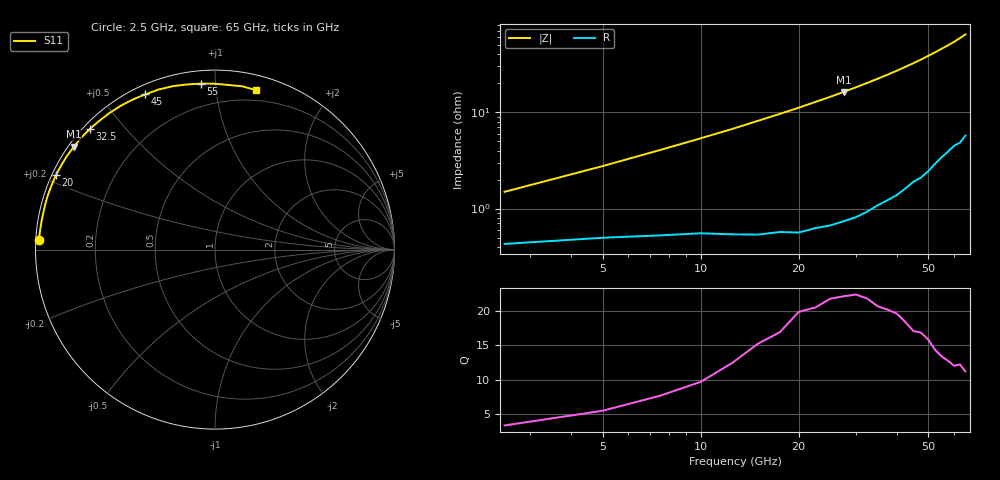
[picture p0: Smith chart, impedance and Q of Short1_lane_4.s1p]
! File created by SignalIntegrity v1.5.1: Signal and Power Integrity Tools
! https://github.com/Nubis-Communications/SignalIntegrity
# MHz S MA R 50.0
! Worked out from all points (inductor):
!   26 points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, 2.5 GHz to 65 GHz, reference 50 ohm
!   read as one part to ground: L = 86.5 pH near 2.5 GHz
!   highest Q = 22.1 at 27.5 GHz (marker M1), where L = 94.4 pH
!   S11 on the Smith chart (normalised r, x): 2.5 GHz: 0.01, +0.03; 20 GHz: 0.01, +0.22; 32.5 GHz: 0.02, +0.40; 45 GHz: 0.04, +0.65; 55 GHz: 0.07, +0.92; 65 GHz: 0.11, +1.28
2500  0.983 176.7
5000  0.9804 173.8
7500  0.9793 170.8
10000  0.9784 167.8
12500  0.979 164.7
15000  0.9793 161.5
17500  0.9782 158.2
20000  0.9788 154.8
22500  0.9768 151.3
25000  0.9757 147.7
27500  0.9737 143.9
30000  0.9716 140.0
32500  0.9685 136.0
35000  0.9645 131.8
37500  0.9614 127.5
40000  0.9582 123.2
42500  0.9533 118.6
45000  0.9479 114.1
47500  0.9455 109.4
50000  0.9406 104.6
52500  0.9335 99.9
55000  0.9281 94.9
57500  0.9244 90.2
60000  0.9203 85.5
62500  0.9224 80.5
65000  0.9171 75.6
